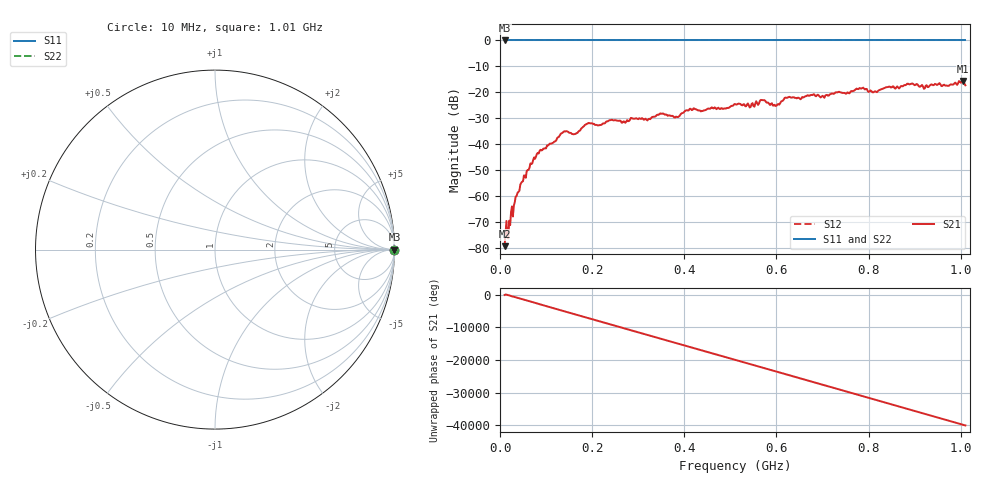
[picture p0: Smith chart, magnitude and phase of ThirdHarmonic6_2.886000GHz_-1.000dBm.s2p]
! 8/17/2025 7:55:59 AM
! C:\ANRITSUVNA\TEMP\TEMP.S2P
! CHANNEL.1
! TR.MEASUREMENT
! RAW.DATA
! RF.CORRECTION.OFF
! AVERAGING.OFF
! IF.BANDWIDTH: 5KHZ
! SWEEPTYPE:  FREQ.SWEEP(Linear)
! Reference Plane Port Info
! PORT:  PORT1  PORT2
! DISTANCE:  0  m  0  m
! TIME:  0  s  0  s
! PHASE.OFFSET:  0  deg.  0  deg.
! LOSS:  0  dB  0  dB
! REF.LOSS:  0  dB  0  dB
! REF.FREQ:  0  Hz  0  Hz
! Power Info
! POWER:  -20  dBm  -20  dBm
! EFF.POWER:  -20  dBm  -20  dBm
! SOURCE.ATTEN:  0  dB  0  dB
! TEST.ATTEN:  0  dB  0  dB
# GHZ S RI R 50.0
! FREQ.GHZ  S11RE  S11IM  S21RE  S21IM  S12RE  S12IM  S22RE  S22IM
!; PortSelection: Port_12
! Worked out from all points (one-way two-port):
!   501 points, 10 MHz to 1.01 GHz, reference 50 ohm
!   highest |S21| = -15.58 dB at 1.004 GHz (marker M1); lowest = -79.2 dB at 10 MHz (marker M2)
!   lowest |S11| = 0.0 dB at 10 MHz (marker M3)
!   |S11| at or under -10 dB: nowhere
!   |S22| runs from 0.0 to 0.0 dB; largest |S21 - S12| = 1.2
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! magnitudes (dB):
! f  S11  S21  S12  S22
! 10 MHz  0.0  -79.2  0.0  0.0
! 20 MHz  0.0  -69.3  0.0  0.0
! 34 MHz  0.0  -60.1  0.0  0.0
! 48 MHz  0.0  -54.3  0.0  0.0
! 78 MHz  0.0  -44.7  0.0  0.0
! 136 MHz  0.0  -35.5  0.0  0.0
! 162 MHz  0.0  -36.0  0.0  0.0
! 178 MHz  0.0  -33.6  0.0  0.0
! 192 MHz  0.0  -31.7  0.0  0.0
! 322 MHz  0.0  -30.3  0.0  0.0
! 344 MHz  0.0  -28.6  0.0  0.0
! 382 MHz  0.0  -29.3  0.0  0.0
! 410 MHz  0.0  -26.8  0.0  0.0
! 510 MHz  0.0  -24.4  0.0  0.0
! 546 MHz  0.0  -24.5  0.0  0.0
! 570 MHz  0.0  -23.0  0.0  0.0
! 596 MHz  0.0  -24.8  0.0  0.0
! 622 MHz  0.0  -22.1  0.0  0.0
! 678 MHz  0.0  -21.0  0.0  0.0
! 844 MHz  0.0  -17.8  0.0  0.0
! 1.004 GHz  0.0  -15.6  0.0  0.0
! 1.01 GHz  0.0  -17.3  0.0  0.0
